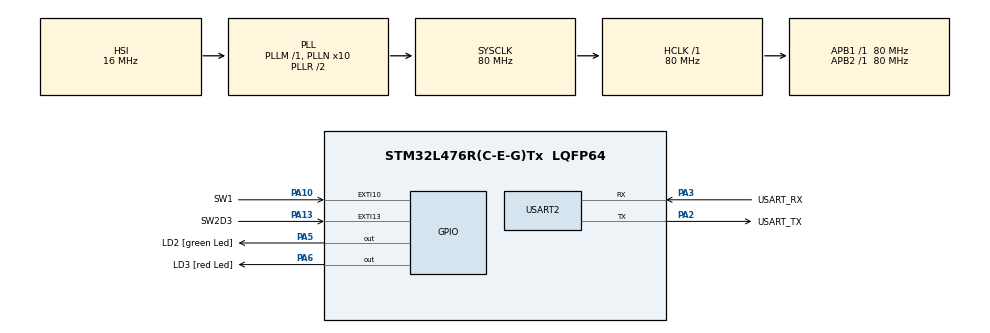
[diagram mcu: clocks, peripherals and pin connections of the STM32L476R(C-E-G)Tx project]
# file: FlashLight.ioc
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Mcu.Family=STM32L4
Mcu.Name=STM32L476R(C-E-G)Tx
Mcu.Package=LQFP64
NVIC.EXTI15_10_IRQn=true\:0\:0\:false\:false\:true\:true\:true\:true
NVIC.PriorityGroup=NVIC_PRIORITYGROUP_4
NVIC.TIM6_DAC_IRQn=true\:0\:0\:false\:false\:true\:true\:true\:true
NVIC.USART2_IRQn=true\:0\:0\:false\:false\:true\:true\:true\:true
PA10.GPIO_Label=SW1
PA10.GPIO_ModeDefaultEXTI=GPIO_MODE_IT_RISING_FALLING
PA10.Signal=GPXTI10
PA13\ (JTMS-SWDIO).GPIO_Label=SW2D3
PA13\ (JTMS-SWDIO).GPIO_ModeDefaultEXTI=GPIO_MODE_IT_RISING_FALLING
PA13\ (JTMS-SWDIO).Signal=GPXTI13
PA14\ (JTCK-SWCLK).GPIO_Label=TCK
PA14\ (JTCK-SWCLK).Signal=SYS_JTCK-SWCLK
PA2.GPIO_Label=USART_TX
PA2.GPIO_Mode=GPIO_MODE_AF_PP
PA2.GPIO_PuPd=GPIO_NOPULL
PA2.GPIO_Speed=GPIO_SPEED_FREQ_VERY_HIGH
PA2.Mode=Asynchronous
PA2.Signal=USART2_TX
PA3.GPIO_Label=USART_RX
PA3.GPIO_Mode=GPIO_MODE_AF_PP
PA3.GPIO_PuPd=GPIO_NOPULL
PA3.GPIO_Speed=GPIO_SPEED_FREQ_VERY_HIGH
PA3.Mode=Asynchronous
PA3.Signal=USART2_RX
PA5.GPIO_Label=LD2 [green Led]
PA5.GPIO_ModeDefaultOutputPP=GPIO_MODE_OUTPUT_PP
PA5.GPIO_PuPd=GPIO_NOPULL
PA5.GPIO_Speed=GPIO_SPEED_FREQ_LOW
PA5.Signal=GPIO_Output
PA6.GPIO_Label=LD3 [red Led]
PA6.Signal=GPIO_Output
PB3\ (JTDO-TRACESWO).GPIO_Label=SWO
PB3\ (JTDO-TRACESWO).Signal=SYS_JTDO-SWO
PC14-OSC32_IN\ (PC14).Mode=LSE-External-Oscillator
PC14-OSC32_IN\ (PC14).Signal=RCC_OSC32_IN
PC15-OSC32_OUT\ (PC15).Mode=LSE-External-Oscillator
PC15-OSC32_OUT\ (PC15).Signal=RCC_OSC32_OUT
PH0-OSC_IN\ (PH0).Signal=RCC_OSC_IN
PH1-OSC_OUT\ (PH1).Signal=RCC_OSC_OUT
ProjectManager.HeapSize=0x200
ProjectManager.StackSize=0x400
ProjectManager.TargetToolchain=STM32CubeIDE
RCC.ADCFreq_Value=64000000
RCC.AHBFreq_Value=80000000
RCC.APB1Freq_Value=80000000
RCC.APB1TimFreq_Value=80000000
RCC.APB2Freq_Value=80000000
RCC.APB2TimFreq_Value=80000000
RCC.CortexFreq_Value=80000000
RCC.HCLKFreq_Value=80000000
RCC.HSE_VALUE=8000000
RCC.HSI_VALUE=16000000
RCC.MSI_VALUE=4000000
RCC.PLLN=10
RCC.PLLSourceVirtual=RCC_PLLSOURCE_HSI
RCC.PREFETCH_ENABLE=1
RCC.SYSCLKFreq_VALUE=80000000
RCC.SYSCLKSource=RCC_SYSCLKSOURCE_PLLCLK
RCC.USBFreq_Value=64000000
RCC.VCOOutputFreq_Value=160000000
TIM6.Period=10
TIM6.Prescaler=7999
USART2.VirtualMode-Asynchronous=VM_ASYNC
VP_TIM6_VS_ClockSourceINT.Mode=Enable_Timer
board=NUCLEO-L476RG

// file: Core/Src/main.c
/* USER CODE BEGIN Header */
/**
  ******************************************************************************
  * @file           : main.c
  * @brief          : Main program body
  ******************************************************************************
  * @attention
  *
  * Copyright (c) 2022 STMicroelectronics.
  * All rights reserved.
  *
  * This software is licensed under terms that can be found in the LICENSE file
  * in the root directory of this software component.
  * If no LICENSE file comes with this software, it is provided AS-IS.
  *
  ******************************************************************************
  */
/* USER CODE END Header */
#include "main.h"

/* USER CODE BEGIN Includes */
#include "LedControl.h"
#include "led.h"
#include "statemachine.h"
#include <stdio.h>
#include <string.h>
/* USER CODE END Includes */

 TIM_HandleTypeDef htim6;

UART_HandleTypeDef huart2;

void SystemClock_Config(void);
static void MX_GPIO_Init(void);
static void MX_USART2_UART_Init(void);
static void MX_TIM6_Init(void);

/* USER CODE BEGIN 0 */
LED _ledRed;
LED _ledBlue;
void HAL_TIM_PeriodElapsedCallback(TIM_HandleTypeDef * htim){

	//HAL_GPIO_TogglePin(LD2_GPIO_Port, LD2_Pin);
	/*if(counter < brightness){
		HAL_GPIO_WritePin(LD2_GPIO_Port, LD2_Pin, 1);
	}else{
		HAL_GPIO_WritePin(LD2_GPIO_Port, LD2_Pin, 0);
	}
	counter++;
	if(counter > 10){
		counter = 0;
	}*/
	/*if(btnEvent == BTN_UP){
		//ledOFF(&htim6);
		ledON(&htim6);
	} else{

	}*/
	ledOnTimerInterrupt(&_ledRed);
	ledOnTimerInterrupt(&_ledBlue);

}

uint8_t btnDown = 0;
uint8_t btnUp = 0;
void HAL_GPIO_EXTI_Callback(uint16_t GPIO_Pin){
	/*switch(state()){
	case STATE_ON:
		//HAL_TIM_Base_Stop_IT(&htim6);
		//HAL_GPIO_WritePin(LD2_GPIO_Port, LD2_Pin, 1);
		ledON(&htim6);
		break;
	case STATE_OFF:
		//HAL_TIM_Base_Stop_IT(&htim6);
		//HAL_GPIO_WritePin(LD2_GPIO_Port, LD2_Pin, 0);
		ledOFF(&htim6);
		break;
	case STATE_FLICKERING:
		//__HAL_TIM_SET_COUNTER(&htim6,0);
		//__HAL_TIM_SET_AUTORELOAD(&htim6,3000);
		//HAL_TIM_Base_Start_IT(&htim6);
		ledFlickering(&htim6);
		break;
	case STATE_WEAK:
		//__HAL_TIM_SET_COUNTER(&htim6,0);
		//__HAL_TIM_SET_AUTORELOAD(&htim6,100);
		//HAL_TIM_Base_Start_IT(&htim6);
		ledWeak(&htim6);
		break;
	}
	*/
	//printf("GPIO_Pin = %d\n\r",GPIO_Pin);
	//////key down key up
	/*if(btnEvent == BTN_UP){
		__HAL_TIM_SET_COUNTER(&htim6,0);
		__HAL_TIM_SET_AUTORELOAD(&htim6,100);
		HAL_TIM_Base_Start_IT(&htim6);
		btnEvent = BTN_DOWN;
	} else{
		btnEvent = BTN_UP;
		HAL_TIM_Base_Stop_IT(&htim6);

	}*/

	//if(HAL_GPIO_ReadPin(B1_GPIO_Port, B1_Pin)==0){
	/*if(HAL_GPIO_ReadPin(SW2D3_GPIO_Port, SW2D3_Pin)==0){

		btnDown = HAL_GetTick();
	}else{
		btnUp = HAL_GetTick();
		printf("btnDown - btnUp = %d\n\r",btnDown- btnUp);
		//if((btnDown-btnUp) < 500){
			//printf("shortClick\n\r");

		}else{
		 printf("longClick\n\r");
		}
	}*/
if(HAL_GPIO_ReadPin(SW2D3_GPIO_Port, SW2D3_Pin)==1){
		//ledOff(&ledB);
		//ledOn(&ledB);
		//btnDown = HAL_GetTick();
	}

}

#define MAX_BUFFER_LENGTH 100

uint8_t cmdbuffer[MAX_BUFFER_LENGTH];
int cmdcount = 0;
int cmdprint = 0;

int commTask()
{
	uint8_t ch;

	HAL_StatusTypeDef Status = HAL_UART_Receive(&huart2, &ch, 1, 10);
	if (Status != HAL_OK)
	{
		if ((huart2.Instance->ISR & USART_ISR_ORE) != 0)
		{
			__HAL_UART_CLEAR_OREFLAG(&huart2);
		}

		// here we have a time to print the command
		while (cmdprint < cmdcount)
		{
			HAL_UART_Transmit(&huart2, &cmdbuffer[cmdprint++], 1, 0xFFFF);
		}

		return 0;
	}

	if (ch != '\r' && ch != '\n')
	{
		//HAL_UART_Transmit(&huart2, &ch, 1, 0xFFFF);

		if (cmdcount >= MAX_BUFFER_LENGTH)
		{
			cmdcount = 0;
			cmdprint = 0;
		}

		cmdbuffer[cmdcount++] = ch;
		return 0;
	}

	// here we have a time to print the command
	while (cmdprint < cmdcount)
	{
		HAL_UART_Transmit(&huart2, &cmdbuffer[cmdprint++], 1, 0xFFFF);
	}

	HAL_UART_Transmit(&huart2, (uint8_t*)"\r\n", 2, 0xFFFF);

	cmdbuffer[cmdcount] = 0;
	cmdcount = 0;
	cmdprint = 0;
	return 1;
}

void handleCommand()
{
  char cmd[20];
  int maxCount;

  int params = sscanf((const char*)cmdbuffer, "%s %d", cmd, &maxCount);

  if (params == 0)
  {
	  return;
  }

  if (strcmp(cmd, "full") == 0)
  {
	  ledON(&htim6);
  }
  else if (strcmp(cmd, "off") == 0)
  {
	  ledOFF(&htim6);
  }
  else if (strcmp(cmd, "half") == 0)
  {
	  ledWeak(&htim6);
  }else if (strcmp(cmd, "blink") == 0)
  {
	  ledFlickering(&htim6);
  }else if((strcmp(cmd, "0") == 0)){
	  setBrightness(&htim6,0);
  }else if((strcmp(cmd, "1") == 0)){
	  setBrightness(&htim6,1);
  }else if((strcmp(cmd, "2") == 0)){
	  setBrightness(&htim6,2);
  }else if((strcmp(cmd, "3") == 0)){
	  setBrightness(&htim6,3);
  }else if((strcmp(cmd, "4") == 0)){
	  setBrightness(&htim6,4);
  }else if((strcmp(cmd, "5") == 0)){
	  setBrightness(&htim6,5);
  }else if((strcmp(cmd, "6") == 0)){
	  setBrightness(&htim6,6);
  }else if((strcmp(cmd, "7") == 0)){
	  setBrightness(&htim6,7);
  }else if((strcmp(cmd, "8") == 0)){
	  setBrightness(&htim6,8);
  }else if((strcmp(cmd, "9") == 0)){
	  setBrightness(&htim6,9);
  }else if((strcmp(cmd, "10") == 0)){
	  setBrightness(&htim6,10);
  }
  else
  {
	  printf("Invalid command\r\n");
  }
}

/////////////////////////////////////////////////////////////////////////
// Redirecting printf to UART
/////////////////////////////////////////////////////////////////////////
int _write(int fd, char* ptr, int len) {
    HAL_UART_Transmit(&huart2, (uint8_t *) ptr, len, HAL_MAX_DELAY);
    return len;
}

/* USER CODE END 0 */

int main(void)
{

  /* MCU Configuration--------------------------------------------------------*/

  /* Reset of all peripherals, Initializes the Flash interface and the Systick. */
  HAL_Init();

  /* Configure the system clock */
  SystemClock_Config();

  /* Initialize all configured peripherals */
  MX_GPIO_Init();
  MX_USART2_UART_Init();
  MX_TIM6_Init();
  /* USER CODE BEGIN 2 */
  HAL_NVIC_EnableIRQ(TIM6_DAC_IRQn);
  /* USER CODE END 2 */

  /* Infinite loop */
  /* USER CODE BEGIN WHILE */
 // __HAL_TIM_SET_COUNTER(&htim6,0);
  HAL_TIM_Base_Start_IT(&htim6);
  ledInit(&_ledBlue,LD2_GPIO_Port,LD2_Pin);
  ledInit(&_ledRed, LD3_GPIO_Port, LD3_Pin);
  //ledOn(&ledB);
  ledBlink(&_ledRed, 100);
  ledBlink(&_ledBlue, 500);
  //ledOnTimerInterrupt(&ledR);
 // HAL_GPIO_WritePin(LD2_GPIO_Port, LD2_Pin, 1);//start blue led
 // HAL_GPIO_WritePin(LD2_GPIO_Port, LD2A6_Pin, 1);//start red led
  while (1)
  {
    /* USER CODE END WHILE */

    /* USER CODE BEGIN 3 */
	  if (commTask())
	 {
	 	handleCommand();
	 }
  }
  /* USER CODE END 3 */
}

void SystemClock_Config(void)
{
  RCC_OscInitTypeDef RCC_OscInitStruct = {0};
  RCC_ClkInitTypeDef RCC_ClkInitStruct = {0};

  /** Configure the main internal regulator output voltage
  */
  if (HAL_PWREx_ControlVoltageScaling(PWR_REGULATOR_VOLTAGE_SCALE1) != HAL_OK)
  {
    Error_Handler();
  }

  /** Initializes the RCC Oscillators according to the specified parameters
  * in the RCC_OscInitTypeDef structure.
  */
  RCC_OscInitStruct.OscillatorType = RCC_OSCILLATORTYPE_HSI;
  RCC_OscInitStruct.HSIState = RCC_HSI_ON;
  RCC_OscInitStruct.HSICalibrationValue = RCC_HSICALIBRATION_DEFAULT;
  RCC_OscInitStruct.PLL.PLLState = RCC_PLL_ON;
  RCC_OscInitStruct.PLL.PLLSource = RCC_PLLSOURCE_HSI;
  RCC_OscInitStruct.PLL.PLLM = 1;
  RCC_OscInitStruct.PLL.PLLN = 10;
  RCC_OscInitStruct.PLL.PLLP = RCC_PLLP_DIV7;
  RCC_OscInitStruct.PLL.PLLQ = RCC_PLLQ_DIV2;
  RCC_OscInitStruct.PLL.PLLR = RCC_PLLR_DIV2;
  if (HAL_RCC_OscConfig(&RCC_OscInitStruct) != HAL_OK)
  {
    Error_Handler();
  }

  /** Initializes the CPU, AHB and APB buses clocks
  */
  RCC_ClkInitStruct.ClockType = RCC_CLOCKTYPE_HCLK|RCC_CLOCKTYPE_SYSCLK
                              |RCC_CLOCKTYPE_PCLK1|RCC_CLOCKTYPE_PCLK2;
  RCC_ClkInitStruct.SYSCLKSource = RCC_SYSCLKSOURCE_PLLCLK;
  RCC_ClkInitStruct.AHBCLKDivider = RCC_SYSCLK_DIV1;
  RCC_ClkInitStruct.APB1CLKDivider = RCC_HCLK_DIV1;
  RCC_ClkInitStruct.APB2CLKDivider = RCC_HCLK_DIV1;

  if (HAL_RCC_ClockConfig(&RCC_ClkInitStruct, FLASH_LATENCY_4) != HAL_OK)
  {
    Error_Handler();
  }
}

static void MX_TIM6_Init(void)
{

  TIM_MasterConfigTypeDef sMasterConfig = {0};

  htim6.Instance = TIM6;
  htim6.Init.Prescaler = 7999;
  htim6.Init.CounterMode = TIM_COUNTERMODE_UP;
  htim6.Init.Period = 10;
  htim6.Init.AutoReloadPreload = TIM_AUTORELOAD_PRELOAD_DISABLE;
  if (HAL_TIM_Base_Init(&htim6) != HAL_OK)
  {
    Error_Handler();
  }
  sMasterConfig.MasterOutputTrigger = TIM_TRGO_RESET;
  sMasterConfig.MasterSlaveMode = TIM_MASTERSLAVEMODE_DISABLE;
  if (HAL_TIMEx_MasterConfigSynchronization(&htim6, &sMasterConfig) != HAL_OK)
  {
    Error_Handler();
  }

}

static void MX_USART2_UART_Init(void)
{

  huart2.Instance = USART2;
  huart2.Init.BaudRate = 115200;
  huart2.Init.WordLength = UART_WORDLENGTH_8B;
  huart2.Init.StopBits = UART_STOPBITS_1;
  huart2.Init.Parity = UART_PARITY_NONE;
  huart2.Init.Mode = UART_MODE_TX_RX;
  huart2.Init.HwFlowCtl = UART_HWCONTROL_NONE;
  huart2.Init.OverSampling = UART_OVERSAMPLING_16;
  huart2.Init.OneBitSampling = UART_ONE_BIT_SAMPLE_DISABLE;
  huart2.AdvancedInit.AdvFeatureInit = UART_ADVFEATURE_NO_INIT;
  if (HAL_UART_Init(&huart2) != HAL_OK)
  {
    Error_Handler();
  }

}

static void MX_GPIO_Init(void)
{
  GPIO_InitTypeDef GPIO_InitStruct = {0};

  /* GPIO Ports Clock Enable */
  __HAL_RCC_GPIOC_CLK_ENABLE();
  __HAL_RCC_GPIOH_CLK_ENABLE();
  __HAL_RCC_GPIOA_CLK_ENABLE();
  __HAL_RCC_GPIOB_CLK_ENABLE();

  /*Configure GPIO pin Output Level */
  HAL_GPIO_WritePin(GPIOA, LD2_Pin|LD3_Pin, GPIO_PIN_RESET);

  /*Configure GPIO pins : LD2_Pin LD3_Pin */
  GPIO_InitStruct.Pin = LD2_Pin|LD3_Pin;
  GPIO_InitStruct.Mode = GPIO_MODE_OUTPUT_PP;
  GPIO_InitStruct.Pull = GPIO_NOPULL;
  GPIO_InitStruct.Speed = GPIO_SPEED_FREQ_LOW;
  HAL_GPIO_Init(GPIOA, &GPIO_InitStruct);

  /*Configure GPIO pins : SW1_Pin SW2D3_Pin */
  GPIO_InitStruct.Pin = SW1_Pin|SW2D3_Pin;
  GPIO_InitStruct.Mode = GPIO_MODE_IT_RISING_FALLING;
  GPIO_InitStruct.Pull = GPIO_NOPULL;
  HAL_GPIO_Init(GPIOA, &GPIO_InitStruct);

  /* EXTI interrupt init*/
  HAL_NVIC_SetPriority(EXTI15_10_IRQn, 0, 0);
  HAL_NVIC_EnableIRQ(EXTI15_10_IRQn);

}

void Error_Handler(void)
{
  __disable_irq();
  while (1)
  {
  }
}
